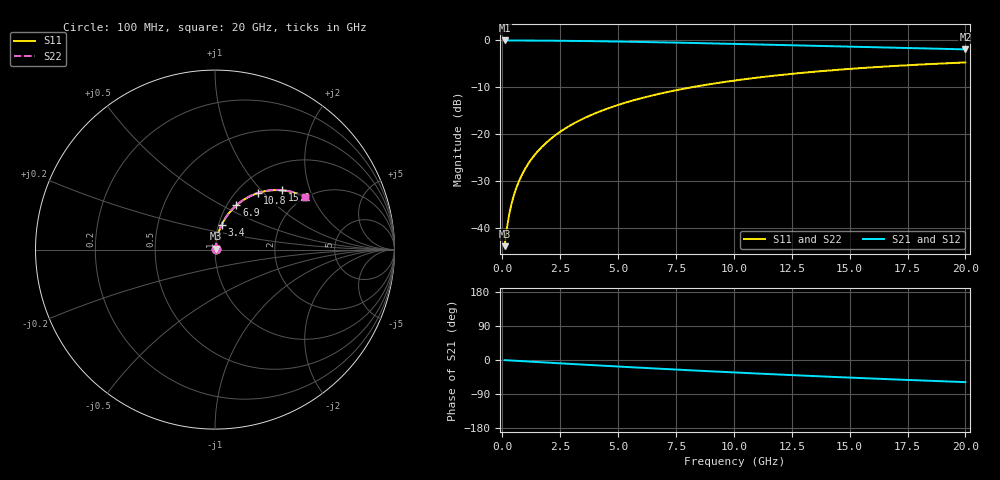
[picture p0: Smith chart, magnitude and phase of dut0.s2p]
! Touchstone file exported from HFSS 2026.1.0
!  File:  C:/ffzhzh/LocalFiles/Ansys_Project_Files/temp_val_BSMRDL_0_1782903036_8056.aedt
!  Generated:  06:52:00 PM Jul  1, 2026
!  Design:  BSMRDL
!  Project:  temp_val_BSMRDL_0_1782903036_8056
! Variables:
!  h_bsmrdl = 4.89um
!  h_ox = 20um
!  h_rdl = 5um
!  h_sub = 80um
!  h_tmrdl = 5um
!  h_tsv = 80um
!  h_via = 3um
!  l_bsmrdl = 863.25um
!  l_sub = 1263.25um
!  l_tmrdl = 200um
!  m_sub = 200um
!  pitch = 51.01um
!  r_tsv = 6um
!  s_tmrdl = 10um
!  w_bsmrdl = 13.52um
!  w_sub = 500um
!  w_tmrdl = 12um
!  x_tsv_center1 = 206um
!  x_tsv_center2 = 1082.77um
!  x_tsv_center3 = 1294.77um
!  x_tsv_center4 = 2171.54um
!  x_tsv_center5 = 2383.54um
!  x_tsv_center6 = 3260.31um
# GHz S MA R 50.000000
! Terminal data exported
! Port[1] = BSM_RDL1_1_T1
! Port[2] = BSM_RDL1_1_T2
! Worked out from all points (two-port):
!   200 points, 100 MHz to 20 GHz, reference 50 ohm
!   highest |S21| = -0.04 dB at 100 MHz (marker M1); lowest = -1.9 dB at 20 GHz (marker M2)
!   |S21| within 3 dB of the highest: start of sweep to end of sweep
!   lowest |S11| = -43.8 dB at 100 MHz (marker M3), VSWR 1.01, Z = 50.5 + j0.449 ohm
!   |S11| at or under -10 dB: start of sweep to 8.178 GHz
!   |S22| runs from -43.8 to -4.7 dB; largest |S21 - S12| = 7.8e-15
!   S11 on the Smith chart (normalised r, x): 100 MHz: 1.01, +0.01; 3.4 GHz: 1.03, +0.29; 6.9 GHz: 1.11, +0.59; 10.8 GHz: 1.24, +0.93; 15.1 GHz: 1.50, +1.31; 20 GHz: 1.99, +1.75
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0.1  0.006453 43.5  0.9953 -0.4  0.9953 -0.4  0.006453 43.5
! Gamma 0 0 0 0
! Port Impedance 50 0 50 0
0.2  0.01009 61.1  0.9952 -0.7  0.9952 -0.7  0.01009 61.1
0.3  0.01413 68.6  0.995 -1.1  0.995 -1.1  0.01413 68.7
0.4  0.01826 72.6  0.9948 -1.4  0.9948 -1.4  0.01826 72.6
0.5  0.02243 75.0  0.9946 -1.8  0.9946 -1.8  0.02243 75.0
0.7  0.03083 77.6  0.9943 -2.5  0.9943 -2.5  0.03083 77.6
1  0.04347 79.2  0.9936 -3.6  0.9936 -3.6  0.04347 79.2
1.4  0.06036 79.6  0.9924 -5.0  0.9924 -5.0  0.06035 79.6
2  0.08553 78.7  0.9901 -7.1  0.9901 -7.1  0.08553 78.8
2.6  0.1104 77.3  0.9871 -9.1  0.9871 -9.1  0.1104 77.3
3.4  0.1429 75.0  0.9821 -11.9  0.9821 -11.9  0.1429 75.1
3.5  0.1469 74.7  0.9814 -12.2  0.9814 -12.2  0.1469 74.8
5  0.2051 70.1  0.9694 -17.3  0.9694 -17.3  0.2051 70.1
6.8  0.2701 64.5  0.9517 -23.1  0.9517 -23.1  0.2701 64.6
6.9  0.2736 64.2  0.9507 -23.4  0.9507 -23.4  0.2736 64.3
8.4  0.3234 59.8  0.9341 -28.0  0.9341 -28.0  0.3233 59.8
10.1  0.375 54.8  0.9139 -33.1  0.9139 -33.1  0.375 55.0
10.8  0.3948 52.9  0.9054 -35.1  0.9054 -35.1  0.3948 53.0
13.4  0.4608 45.9  0.8735 -42.3  0.8735 -42.3  0.4608 46.0
15.1  0.4979 41.6  0.853 -46.7  0.853 -46.7  0.4978 41.7
16.7  0.5286 37.7  0.8345 -50.7  0.8345 -50.7  0.5286 37.9
20  0.5806 30.1  0.7999 -58.4  0.7999 -58.4  0.5806 30.4
